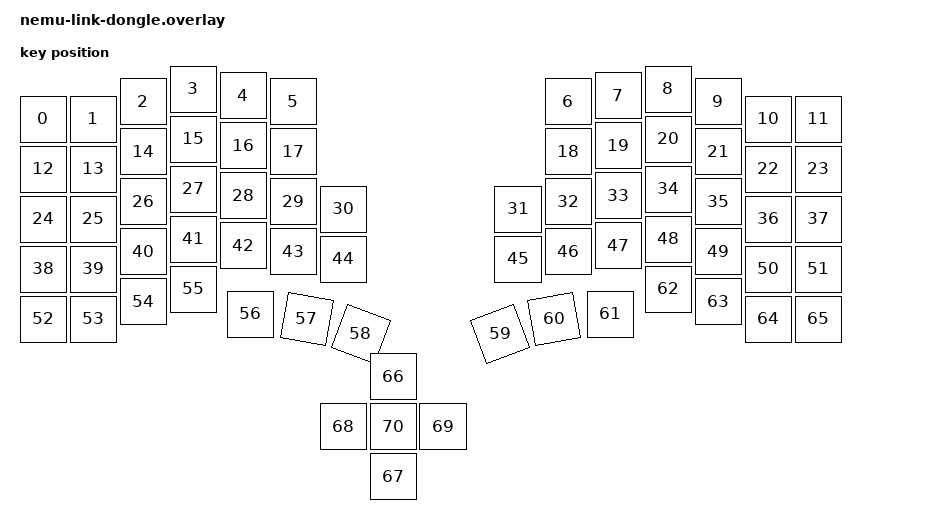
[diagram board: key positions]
#include <physical_layouts.dtsi>
#include <dt-bindings/zmk/input_transform.h>

/ {
    chosen {
        zmk,physical-layout = &physical_layout_dongle;
    };

    /*
     * Same 71 key positions as the keyboard (L layout + 4-direction switch),
     * but without a matrix: positions arrive from the halves over 2.4GHz.
     */
    physical_layout_dongle: physical_layout_dongle {
        compatible = "zmk,physical-layout";
        display-name = "torabo-tsuki L (4-direction)";
        transform = <&dongle_transform>;
        keys  //                     w   h    x    y     rot    rx    ry
            = <&key_physical_attrs 100 100    0   60       0     0     0>
            , <&key_physical_attrs 100 100  100   60       0     0     0>
            , <&key_physical_attrs 100 100  200   25       0     0     0>
            , <&key_physical_attrs 100 100  300    0       0     0     0>
            , <&key_physical_attrs 100 100  400   13       0     0     0>
            , <&key_physical_attrs 100 100  500   25       0     0     0>
            , <&key_physical_attrs 100 100 1050   25       0     0     0>
            , <&key_physical_attrs 100 100 1150   13       0     0     0>
            , <&key_physical_attrs 100 100 1250    0       0     0     0>
            , <&key_physical_attrs 100 100 1350   25       0     0     0>
            , <&key_physical_attrs 100 100 1450   60       0     0     0>
            , <&key_physical_attrs 100 100 1550   60       0     0     0>
            , <&key_physical_attrs 100 100    0  160       0     0     0>
            , <&key_physical_attrs 100 100  100  160       0     0     0>
            , <&key_physical_attrs 100 100  200  125       0     0     0>
            , <&key_physical_attrs 100 100  300  100       0     0     0>
            , <&key_physical_attrs 100 100  400  113       0     0     0>
            , <&key_physical_attrs 100 100  500  125       0     0     0>
            , <&key_physical_attrs 100 100 1050  125       0     0     0>
            , <&key_physical_attrs 100 100 1150  113       0     0     0>
            , <&key_physical_attrs 100 100 1250  100       0     0     0>
            , <&key_physical_attrs 100 100 1350  125       0     0     0>
            , <&key_physical_attrs 100 100 1450  160       0     0     0>
            , <&key_physical_attrs 100 100 1550  160       0     0     0>
            , <&key_physical_attrs 100 100    0  260       0     0     0>
            , <&key_physical_attrs 100 100  100  260       0     0     0>
            , <&key_physical_attrs 100 100  200  225       0     0     0>
            , <&key_physical_attrs 100 100  300  200       0     0     0>
            , <&key_physical_attrs 100 100  400  213       0     0     0>
            , <&key_physical_attrs 100 100  500  225       0     0     0>
            , <&key_physical_attrs 100 100  600  240       0     0     0>
            , <&key_physical_attrs 100 100  950  240       0     0     0>
            , <&key_physical_attrs 100 100 1050  225       0     0     0>
            , <&key_physical_attrs 100 100 1150  213       0     0     0>
            , <&key_physical_attrs 100 100 1250  200       0     0     0>
            , <&key_physical_attrs 100 100 1350  225       0     0     0>
            , <&key_physical_attrs 100 100 1450  260       0     0     0>
            , <&key_physical_attrs 100 100 1550  260       0     0     0>
            , <&key_physical_attrs 100 100    0  360       0     0     0>
            , <&key_physical_attrs 100 100  100  360       0     0     0>
            , <&key_physical_attrs 100 100  200  325       0     0     0>
            , <&key_physical_attrs 100 100  300  300       0     0     0>
            , <&key_physical_attrs 100 100  400  313       0     0     0>
            , <&key_physical_attrs 100 100  500  325       0     0     0>
            , <&key_physical_attrs 100 100  600  340       0     0     0>
            , <&key_physical_attrs 100 100  950  340       0     0     0>
            , <&key_physical_attrs 100 100 1050  325       0     0     0>
            , <&key_physical_attrs 100 100 1150  313       0     0     0>
            , <&key_physical_attrs 100 100 1250  300       0     0     0>
            , <&key_physical_attrs 100 100 1350  325       0     0     0>
            , <&key_physical_attrs 100 100 1450  360       0     0     0>
            , <&key_physical_attrs 100 100 1550  360       0     0     0>
            , <&key_physical_attrs 100 100    0  460       0     0     0>
            , <&key_physical_attrs 100 100  100  460       0     0     0>
            , <&key_physical_attrs 100 100  200  425       0     0     0>
            , <&key_physical_attrs 100 100  300  400       0     0     0>
            , <&key_physical_attrs 100 100  415  450       0     0     0>
            , <&key_physical_attrs 100 100  520  450    1000   520   550>
            , <&key_physical_attrs 100 100  622  471    2000   625   570>
            , <&key_physical_attrs 100 100  928  471 (-2000)  1025   570>
            , <&key_physical_attrs 100 100 1030  450 (-1000)  1130   550>
            , <&key_physical_attrs 100 100 1135  450       0     0     0>
            , <&key_physical_attrs 100 100 1250  400       0     0     0>
            , <&key_physical_attrs 100 100 1350  425       0     0     0>
            , <&key_physical_attrs 100 100 1450  460       0     0     0>
            , <&key_physical_attrs 100 100 1550  460       0     0     0>
            , <&key_physical_attrs 100 100  700  575       0     0     0>
            , <&key_physical_attrs 100 100  700  775       0     0     0>
            , <&key_physical_attrs 100 100  600  675       0     0     0>
            , <&key_physical_attrs 100 100  800  675       0     0     0>
            , <&key_physical_attrs 100 100  700  675       0     0     0>
            ;
    };

    /* identity matrix transform: position N = RC(0,N) = N (single row) */
    dongle_transform: dongle_transform {
        compatible = "zmk,matrix-transform";
        columns = <71>;
        rows = <1>;
        map = <
            0 1 2 3 4 5 6 7 8 9 10 11
            12 13 14 15 16 17 18 19 20 21 22 23
            24 25 26 27 28 29 30 31 32 33 34 35
            36 37 38 39 40 41 42 43 44 45 46 47
            48 49 50 51 52 53 54 55 56 57 58 59
            60 61 62 63 64 65 66 67 68 69 70
        >;
    };

    /* radio node: must exist on every nemu-link target (halves and dongle) */
    nemu_link_split {
        compatible = "sekigon,nemu-link-radio";
    };

    /*
     * Right half trackball -> dongle.
     * The right half forwards its trackball with the wire reg of its
     * input-listener (listener index 0 = pointing_listener, reg 0).
     */
    split_inputs {
        #address-cells = <1>;
        #size-cells = <0>;

        trackball_proxy: trackball_proxy@0 {
            compatible = "zmk,input-split";
            reg = <0>;
        };
    };

    trackball_proxy_listener {
        compatible = "zmk,input-listener";
        device = <&trackball_proxy>;
        status = "okay";
        input-processors = <&zip_xy_transform (INPUT_TRANSFORM_X_INVERT | INPUT_TRANSFORM_Y_INVERT) &zip_temp_layer 8 175>;
    };
};
